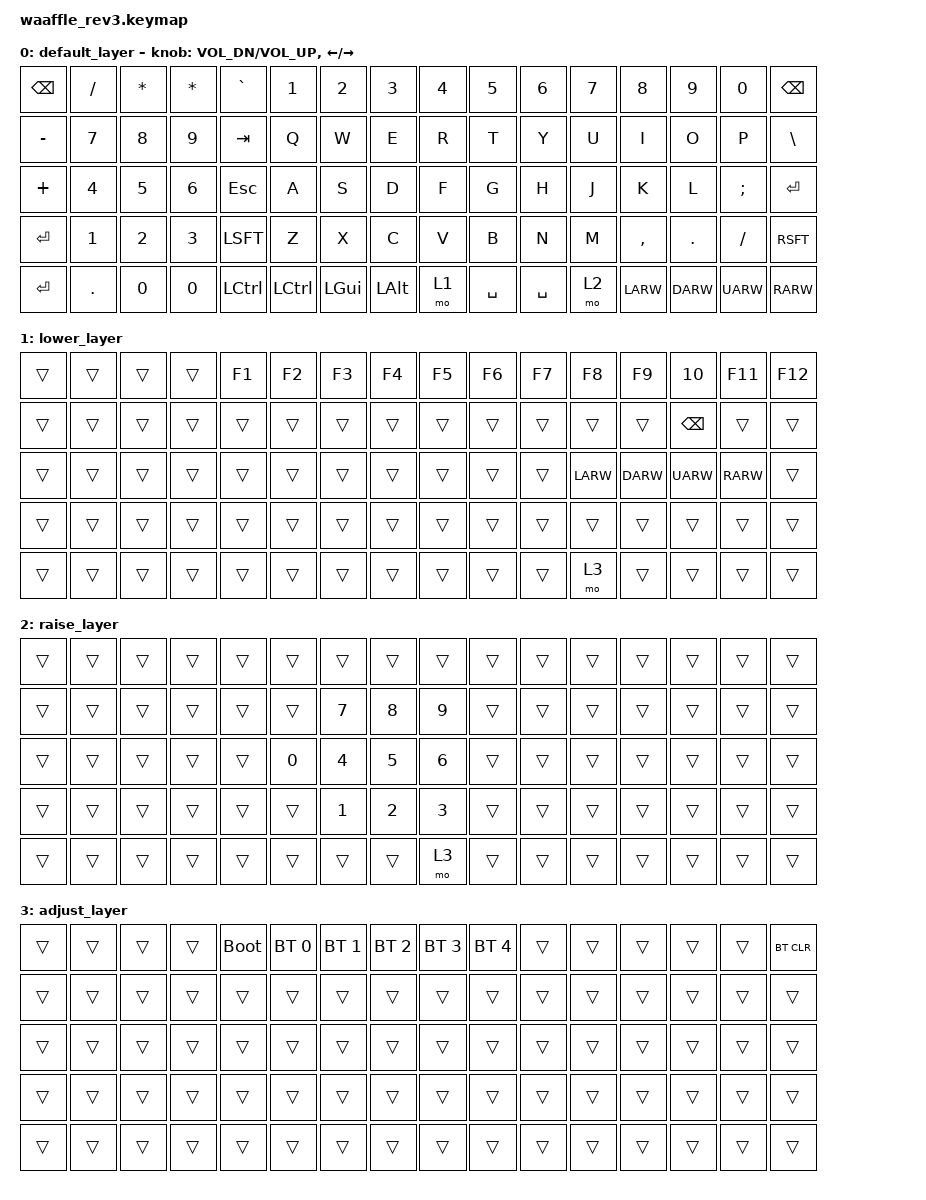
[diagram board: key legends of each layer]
/*
 * Copyright (c) 2020 The ZMK Contributors
 *
 * SPDX-License-Identifier: MIT
 */

#include <behaviors.dtsi>
#include <dt-bindings/zmk/keys.h>
#include <dt-bindings/zmk/bt.h>

// custom keycode defs for easier access
#define DEFAULT 0
#define LOWER   1
#define RAISE   2
#define ADJUST  3



// / {
//     behaviors {
//         hm: homerow_mods {
//             compatible = "zmk,behavior-hold-tap";
//             label = "homerow mods";
//             #binding-cells = <2>;
//             tapping_term_ms = <225>;
//             flavor = "tap-preferred";
//             bindings = <&kp>, <&kp>;
//         };
//     };
// };

/ {
    keymap {
        compatible = "zmk,keymap";

        default_layer {
            bindings = <
                &kp BKSP    &kp SLASH   &kp STAR    &kp STAR    &kp GRAV   &kp 1       &kp 2       &kp 3       &kp 4        &kp 5       &kp 6       &kp 7       &kp 8       &kp 9       &kp 0       &kp BKSP
                &kp MINUS   &kp NUM_7   &kp NUM_8   &kp NUM_9   &kp TAB    &kp Q       &kp W       &kp E       &kp R        &kp T       &kp Y       &kp U       &kp I       &kp O       &kp P       &kp BSLH
                &kp PLUS    &kp NUM_4   &kp NUM_5   &kp NUM_6   &kp ESC    &kp A       &kp S       &kp D       &kp F        &kp G       &kp H       &kp J       &kp K       &kp L       &kp SCLN    &kp RET
                &kp RET     &kp NUM_1   &kp NUM_2   &kp NUM_3   &kp LSFT   &kp Z       &kp X       &kp C       &kp V        &kp B       &kp N       &kp M       &kp CMMA    &kp DOT     &kp FSLH    &kp RSFT
                &kp RET     &kp DOT     &kp NUM_0   &kp NUM_0   &kp LCTL   &kp LCTL    &kp LGUI    &kp LALT    &mo 1        &kp SPC     &kp SPC     &mo 2       &kp LARW    &kp DARW    &kp UARW    &kp RARW   
            >;
            sensor-bindings = <&inc_dec_kp C_VOL_DN C_VOL_UP &inc_dec_kp LEFT RIGHT>;
        };

        lower_layer {
            bindings = <
                &trans      &trans      &trans      &trans      &kp F1      &kp F2      &kp F3      &kp F4      &kp F5      &kp F6      &kp F7      &kp F8      &kp F9      &kp 10      &kp F11     &kp F12  
                &trans      &trans      &trans      &trans      &trans      &trans      &trans      &trans      &trans      &trans      &trans      &trans      &trans      &kp BKSP    &trans      &trans  
                &trans      &trans      &trans      &trans      &trans      &trans      &trans      &trans      &trans      &trans      &trans      &kp LARW    &kp DARW    &kp UARW    &kp RARW    &trans  
                &trans      &trans      &trans      &trans      &trans      &trans      &trans      &trans      &trans      &trans      &trans      &trans      &trans      &trans      &trans      &trans  
                &trans      &trans      &trans      &trans      &trans      &trans      &trans      &trans      &trans      &trans      &trans      &mo 3       &trans      &trans      &trans      &trans  
            >;
            

        };

        raise_layer {
            bindings = <
                &trans      &trans      &trans      &trans      &trans      &trans      &trans      &trans      &trans      &trans      &trans      &trans      &trans      &trans      &trans      &trans  
                &trans      &trans      &trans      &trans      &trans      &trans      &kp NUM_7   &kp NUM_8   &kp NUM_9   &trans      &trans      &trans      &trans      &trans      &trans      &trans
                &trans      &trans      &trans      &trans      &trans      &kp NUM_0   &kp NUM_4   &kp NUM_5   &kp NUM_6   &trans      &trans      &trans      &trans      &trans      &trans      &trans
                &trans      &trans      &trans      &trans      &trans      &trans      &kp NUM_1   &kp NUM_2   &kp NUM_3   &trans      &trans      &trans      &trans      &trans      &trans      &trans
                &trans      &trans      &trans      &trans      &trans      &trans      &trans      &trans      &mo 3       &trans      &trans      &trans      &trans      &trans      &trans      &trans
            >;
        };
        
        adjust_layer {
            bindings = <
                &trans      &trans      &trans      &trans      &bootloader &bt BT_SEL 0     &bt BT_SEL 1     &bt BT_SEL 2     &bt BT_SEL 3      &bt BT_SEL 4     &trans      &trans      &trans      &trans      &trans      &bt BT_CLR
                &trans      &trans      &trans      &trans      &trans      &trans      &trans      &trans      &trans       &trans      &trans      &trans      &trans      &trans      &trans      &trans
                &trans      &trans      &trans      &trans      &trans      &trans      &trans      &trans      &trans       &trans      &trans      &trans      &trans      &trans      &trans      &trans
                &trans      &trans      &trans      &trans      &trans      &trans      &trans      &trans      &trans       &trans      &trans      &trans      &trans      &trans      &trans      &trans
                &trans      &trans      &trans      &trans      &trans      &trans      &trans      &trans      &trans       &trans      &trans      &trans      &trans      &trans      &trans      &trans
            >;
        };
    };
};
